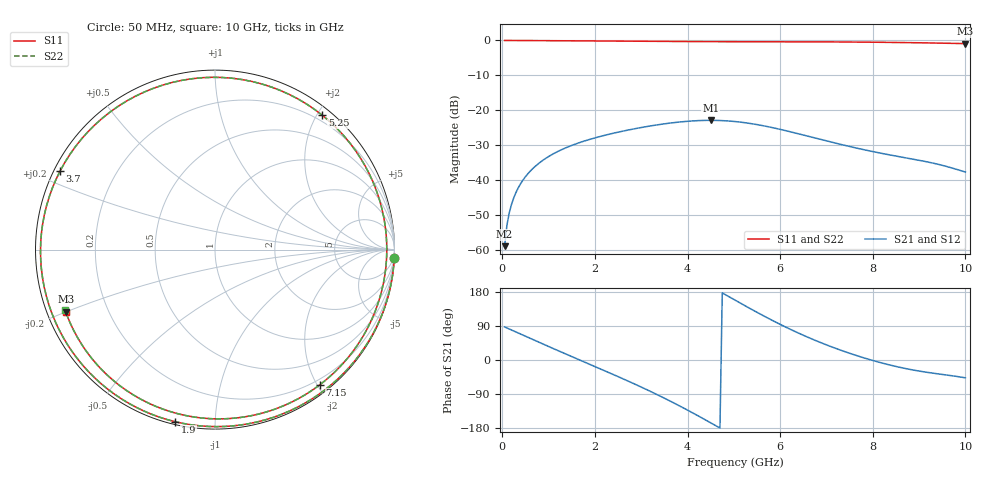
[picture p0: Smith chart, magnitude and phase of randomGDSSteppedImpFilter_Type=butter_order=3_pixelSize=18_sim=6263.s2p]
! freq	dB(S11)	phase(S11)	dB(S12)	phase(S12)
!  dB(S21)	phase(S21)	dB(S22)	phase(S22)
!S-par simulation data
#  GHz  S  DB  R 50
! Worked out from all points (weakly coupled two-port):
!   200 points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, 50 MHz to 10 GHz, reference 50 ohm
!   highest |S21| = -22.92 dB at 4.5 GHz (marker M1); lowest = -59.0 dB at 50 MHz (marker M2)
!   lowest |S11| = -0.9 dB at 10 GHz (marker M3), VSWR 19.18, Z = 2.71 - j9.95 ohm
!   |S11| at or under -10 dB: nowhere
!   |S22| runs from -0.9 to 0.0 dB; largest |S21 - S12| = 0
!   S11 on the Smith chart (normalised r, x): 50 MHz: 0, -42; 1.9 GHz: 0.01, -0.79; 3.7 GHz: 0.02, +0.24; 5.25 GHz: 0.11, +2.07; 7.15 GHz: 0.12, -2.03; 10 GHz: 0.05, -0.20
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0.05  -0.00 -2.7  -59.01 87.3  -59.01 87.3  -0.00 -2.7
0.1  -0.00 -5.5  -52.99 84.5  -52.99 84.5  -0.00 -5.5
0.2  -0.00 -11.0  -46.98 79.1  -46.98 79.1  -0.00 -11.0
0.5  -0.02 -27.4  -39.09 62.7  -39.09 62.7  -0.02 -27.4
1.15  -0.08 -62.6  -32.18 27.6  -32.18 27.6  -0.08 -62.6
1.75  -0.13 -94.9  -28.94 -4.1  -28.94 -4.1  -0.13 -95.0
1.9  -0.14 -103.1  -28.33 -12.0  -28.33 -12.0  -0.14 -103.1
2.3  -0.17 -124.9  -26.92 -33.1  -26.92 -33.1  -0.17 -124.9
2.75  -0.20 -150.1  -25.61 -57.4  -25.61 -57.4  -0.20 -150.1
3.4  -0.26 171.8  -24.10 -94.7  -24.10 -94.7  -0.26 171.6
3.7  -0.28 153.2  -23.57 -113.1  -23.57 -113.1  -0.28 153.0
4.15  -0.32 124.3  -23.05 -142.1  -23.05 -142.1  -0.32 124.0
4.5  -0.35 101.1  -22.92 -165.8  -22.92 -165.8  -0.35 100.7
5.05  -0.37 64.5  -23.29 156.3  -23.29 156.3  -0.37 64.0
5.25  -0.37 51.4  -23.61 142.6  -23.61 142.6  -0.37 50.9
5.95  -0.38 8.4  -25.35 97.1  -25.35 97.1  -0.38 7.8
6.7  -0.39 -31.4  -27.80 54.7  -27.80 54.7  -0.40 -32.0
7.15  -0.42 -52.2  -29.30 32.9  -29.30 32.9  -0.42 -52.8
7.75  -0.47 -77.1  -31.17 7.8  -31.17 7.8  -0.47 -77.7
8.35  -0.55 -99.6  -32.79 -12.7  -32.79 -12.7  -0.55 -100.2
9.1  -0.68 -125.9  -34.63 -31.2  -34.63 -31.2  -0.68 -126.5
10  -0.91 -157.4  -37.75 -47.1  -37.75 -47.1  -0.91 -158.0
